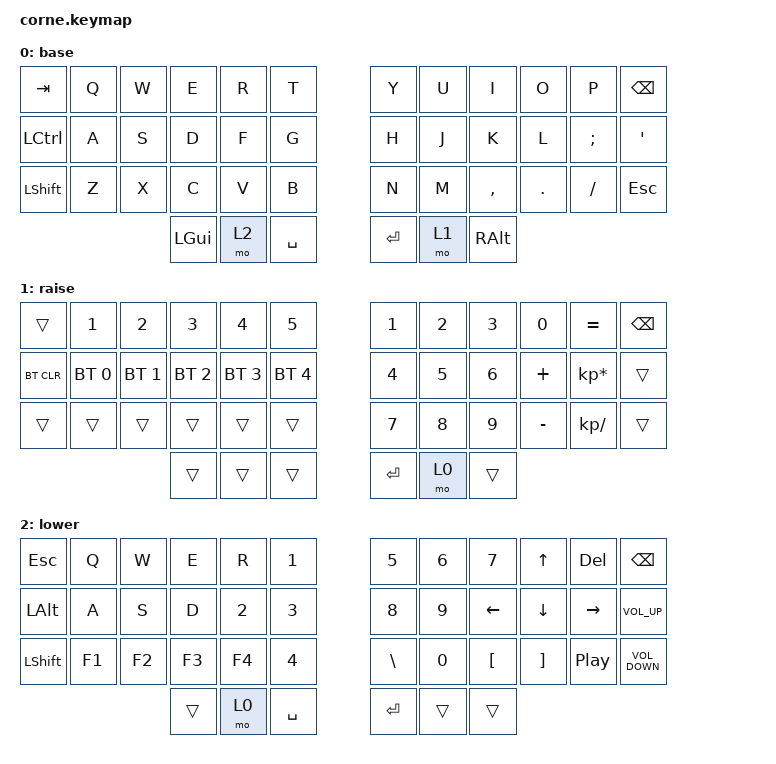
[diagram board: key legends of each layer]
/*
 * Copyright (c) 2020 The ZMK Contributors
 *
 * SPDX-License-Identifier: MIT
 */

#include <behaviors.dtsi>
#include <dt-bindings/zmk/bt.h>
#include <dt-bindings/zmk/keys.h>

// dt-formatter: indent = "  "
// dt-formatter: reindentMultilineIntegerCells = "dedent"

/ {
  behaviors {
    hm: homerow_mods {
      compatible = "zmk,behavior-hold-tap";
      label = "HOMEROW_MODS";
      #binding-cells = <2>;
      tapping-term-ms = <150>;
      quick-tap-ms = <0>;
      flavor = "tap-preferred";
      bindings =
        <&kp>,
        <&kp>;
    };
  };

  combos {
    compatible = "zmk,combos";

    tab {
      bindings = <&trans>;
      key-positions = <2 3>;
    };

    ctrl {
      bindings = <&kp LCTRL>;
      key-positions = <26 27>;
    };

    cmd {
      bindings = <&kp LCMD>;
      key-positions = <37 38>;
    };

    alt {
      bindings = <&kp LEFT_ALT>;
      key-positions = <39 40>;
    };

    shift {
      bindings = <&kp LSHIFT>;
      key-positions = <8 9>;
    };

    caps_word {
      bindings = <&caps_word>;
      key-positions = <17 18>;
    };

    delete {
      bindings = <&kp DEL>;
      key-positions = <32 33>;
    };
  };

  macros {
    zed_em_kay: zed_em_kay {
      compatible = "zmk,behavior-macro";
      label = "ZM_zed_em_kay";
      #binding-cells = <0>;
      bindings =
        <&macro_press>,
        <&kp LSHFT>,
        <&macro_tap>,
        <&kp Z &kp M &kp K>,
        <&macro_release>,
        <&kp LSHFT>;
    };
  };

  keymap {
    compatible = "zmk,keymap";

    base {
      bindings = <
&kp TAB    &kp Q  &kp W  &kp E     &kp R  &kp T        &kp Y    &kp U  &kp I      &kp O    &kp P          &kp BACKSPACE
&kp LCTRL  &kp A  &kp S  &kp D     &kp F  &kp G        &kp H    &kp J  &kp K      &kp L    &kp SEMICOLON  &kp APOS
&kp LSHFT  &kp Z  &kp X  &kp C     &kp V  &kp B        &kp N    &kp M  &kp COMMA  &kp DOT  &kp FSLH       &kp ESC
                         &kp LGUI  &mo 2  &kp SPACE    &kp RET  &mo 1  &kp RALT
      >;
    };

    raise {
      bindings = <
&trans      &kp N1        &kp N2        &kp N3        &kp N4        &kp N5          &kp N1        &kp NUMBER_2  &kp NUMBER_3  &kp NUMBER_0  &kp EQUAL        &kp BACKSPACE
&bt BT_CLR  &bt BT_SEL 0  &bt BT_SEL 1  &bt BT_SEL 2  &bt BT_SEL 3  &bt BT_SEL 4    &kp NUMBER_4  &kp NUMBER_5  &kp NUMBER_6  &kp PLUS      &kp KP_MULTIPLY  &trans
&trans      &trans        &trans        &trans        &trans        &trans          &kp NUMBER_7  &kp NUMBER_8  &kp NUMBER_9  &kp MINUS     &kp KP_DIVIDE    &trans
                                        &trans        &trans        &trans          &kp RET       &mo 0         &trans
      >;
    };

    lower {
      bindings = <
&kp ESC         &kp Q   &kp W   &kp E   &kp R         &kp NUMBER_1    &kp NUMBER_5   &kp NUMBER_6  &kp NUMBER_7      &kp UP_ARROW       &kp DELETE        &kp BACKSPACE
&kp LALT        &kp A   &kp S   &kp D   &kp NUMBER_2  &kp NUMBER_3    &kp NUMBER_8   &kp NUMBER_9  &kp LEFT          &kp DOWN           &kp RIGHT         &kp C_VOLUME_UP
&kp LEFT_SHIFT  &kp F1  &kp F2  &kp F3  &kp F4        &kp NUMBER_4    &kp BACKSLASH  &kp NUMBER_0  &kp LEFT_BRACKET  &kp RIGHT_BRACKET  &kp C_PLAY_PAUSE  &kp C_VOLUME_DOWN
                                &trans  &mo 0         &kp SPACE       &kp RET        &trans        &trans
      >;
    };
  };
};
